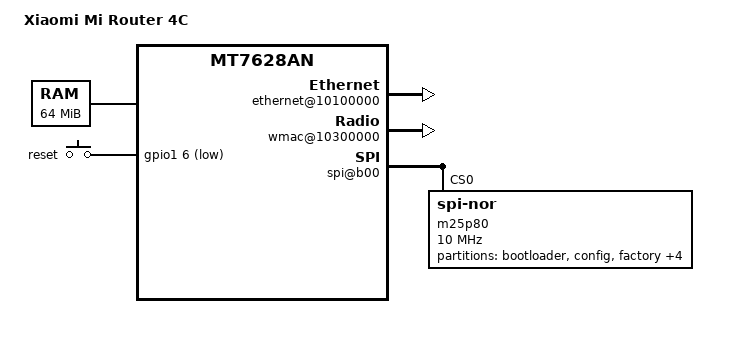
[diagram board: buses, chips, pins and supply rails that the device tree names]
/dts-v1/;

/include/ "mt7628an.dtsi"

/ {
	compatible = "xiaomi,mi-router-4c", "mediatek,mt7628an-soc";
	model = "Xiaomi Mi Router 4C";

	chosen {
		bootargs = "console=ttyS0,115200";
	};

	memory@0 {
		device_type = "memory";
		reg = <0x0 0x4000000>;
	};

	pinctrl {
		state_default: pinctrl0 {
			gpio {
				ralink,group = "gpio", "wdt", "wled_an";
				ralink,function = "gpio";
			};
		};
	};

	gpio-keys-polled {
		compatible = "gpio-keys-polled";
		#address-cells = <1>;
		#size-cells = <0>;
		poll-interval = <20>;

		reset {
			label = "reset";
			gpios = <&gpio1 6 1>;
			linux,code = <0x198>;
		};
	};

	ethernet@10100000 {
		status = "okay";
		mtd-mac-address = <&factory 0x28>;
		mediatek,portmap = "llllw";
	};

	esw@10110000 {
		status = "okay";
		ralink,portmap = <0x2f>;
	};

	wmac@10300000 {
		status = "okay";
		ralink,mtd-eeprom = <&factory 0>;
	};

	palmbus@10000000 {
		spi@b00 {
			status = "okay";

			m25p80@0 {
				#address-cells = <1>;
				#size-cells = <1>;
				compatible = "jedec,spi-nor";
				reg = <0 0>;
				linux,modalias = "m25p80";
				spi-max-frequency = <10000000>;
				m25p,chunked-io = <32>;

				partition@0 {
					label = "bootloader";
					reg = <0x0 0x20000>;
					read-only;
				};

				partition@20000 {
					label = "config";
					reg = <0x20000 0x10000>;
					read-only;
				};

				factory: partition@30000 {
					label = "factory";
					reg = <0x30000 0x10000>;
					read-only;
				};

				partition@40000 {
					label = "crash";
					reg = <0x40000 0x10000>;
					read-only;
				};

				partition@50000 {
					label = "cfg_bak";
					reg = <0x50000 0x10000>;
					read-only;
				};

				partition@60000 {
					label = "overlay";
					reg = <0x60000 0x100000>;
					read-only;
				};

				partition@160000 {
					label = "firmware";
					reg = <0x160000 0xea0000>;
				};
			};
		};
	};
};
